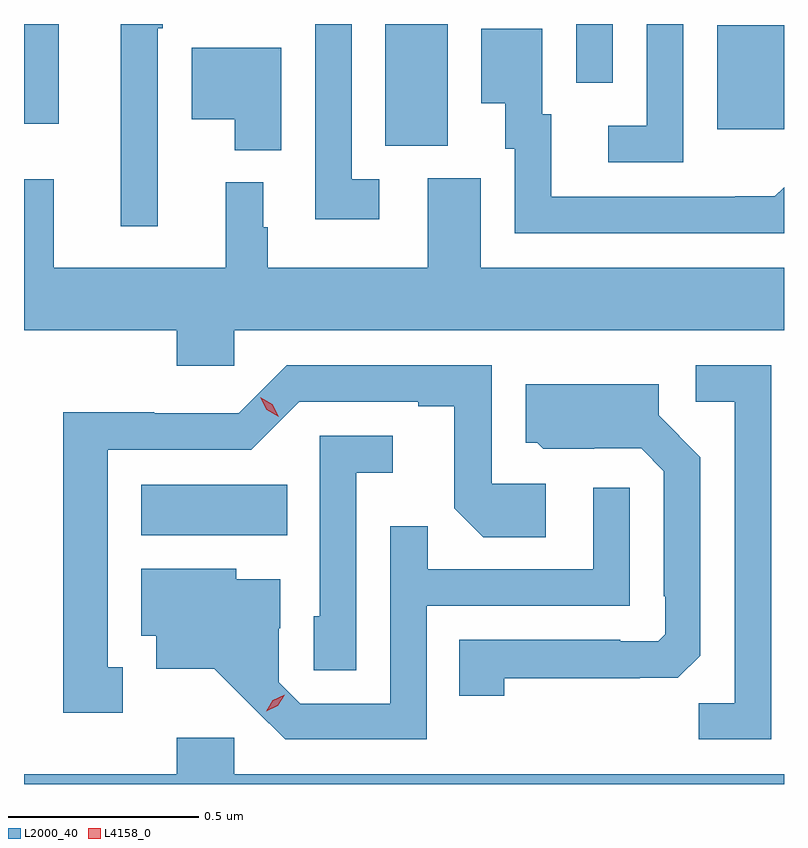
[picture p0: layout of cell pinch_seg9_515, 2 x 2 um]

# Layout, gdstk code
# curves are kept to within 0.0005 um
import gdstk
lib = gdstk.Library(unit=1e-6, precision=1e-09)
def R(c, l, rs):  # rectangles x0, y0, x1, y1
    for r in rs: c.add(gdstk.rectangle(r[:2], r[2:], *l))
def P(c, l, *ps):  # polygons
    for p in ps: c.add(gdstk.Polygon(p, *l))
L2000_40 = (2000, 40)
L4158_0 = (4158, 0)

pinch_seg9_515 = lib.new_cell('pinch_seg9_515')
R(pinch_seg9_515, L2000_40, [(292.328,1202.54,292.712,1202.674), (292.97,1203.565,293.134,1203.886), (293.843,1203.609,294.019,1203.883), (292.019,1203.623,292.111,1203.886), (293.472,1203.732,293.568,1203.886)])
P(pinch_seg9_515, L2000_40, [(292.954,1203.477),(292.881,1203.477),(292.881,1203.886),(292.785,1203.886),(292.785,1203.372),(292.954,1203.372)],
  [(292.371,1203.875),(292.384,1203.875),(292.384,1203.886),(292.274,1203.886),(292.274,1203.354),(292.371,1203.354)],
  [(293.754,1203.886),(293.658,1203.886),(293.658,1203.618),(293.556,1203.618),(293.556,1203.522),(293.754,1203.522)],
  [(294.019,1203.457),(293.995,1203.433),(293.891,1203.433),(293.891,1203.432),(293.407,1203.432),(293.407,1203.648),(293.383,1203.648),(293.383,1203.874),(293.222,1203.874),(293.222,1203.677),(293.285,1203.677),(293.285,1203.558),(293.31,1203.558),(293.31,1203.336),(294.019,1203.336)],
  [(292.696,1203.823),(292.46,1203.823),(292.46,1203.635),(292.574,1203.635),(292.574,1203.554),(292.696,1203.554)],
  [(292.572,1203.08),(294.019,1203.08),(294.019,1203.244),(293.221,1203.244),(293.221,1203.48),(293.081,1203.48),(293.081,1203.244),(292.66,1203.244),(292.66,1203.351),(292.648,1203.351),(292.648,1203.469),(292.55,1203.469),(292.55,1203.244),(292.097,1203.244),(292.097,1203.478),(292.019,1203.478),(292.019,1203.08),(292.421,1203.08),(292.421,1202.987),(292.572,1202.987)],
  [(293.985,1202.988),(293.787,1202.988),(293.787,1202.892),(293.889,1202.892),(293.889,1202.099),(293.794,1202.099),(293.794,1202.004),(293.985,1202.004)],
  [(292.279,1202.193),(292.24,1202.193),(292.24,1202.766),(292.617,1202.766),(292.743,1202.892),(293.057,1202.892),(293.057,1202.88),(293.151,1202.88),(293.151,1202.612),(293.227,1202.536),(293.392,1202.536),(293.392,1202.676),(293.25,1202.676),(293.25,1202.988),(292.71,1202.988),(292.584,1202.862),(292.362,1202.862),(292.362,1202.864),(292.122,1202.864),(292.122,1202.073),(292.279,1202.073)],
  [(293.283,1202.164),(293.639,1202.164),(293.639,1202.165),(293.74,1202.165),(293.799,1202.224),(293.799,1202.746),(293.689,1202.856),(293.689,1202.938),(293.339,1202.938),(293.339,1202.784),(293.37,1202.784),(293.386,1202.768),(293.52,1202.768),(293.52,1202.769),(293.643,1202.769),(293.703,1202.709),(293.703,1202.38),(293.706,1202.38),(293.706,1202.28),(293.688,1202.262),(293.588,1202.262),(293.588,1202.265),(293.164,1202.265),(293.164,1202.118),(293.283,1202.118)],
  [(292.893,1202.705),(292.99,1202.705),(292.99,1202.802),(292.797,1202.802),(292.797,1202.328),(292.782,1202.328),(292.782,1202.185),(292.893,1202.185)],
  [(293.079,1202.355),(293.613,1202.355),(293.613,1202.665),(293.517,1202.665),(293.517,1202.451),(293.081,1202.451),(293.081,1202.564),(292.983,1202.564),(292.983,1202.097),(292.746,1202.097),(292.689,1202.154),(292.689,1202.296),(292.693,1202.296),(292.693,1202.425),(292.578,1202.425),(292.578,1202.452),(292.328,1202.452),(292.328,1202.276),(292.367,1202.276),(292.367,1202.189),(292.519,1202.189),(292.706,1202.004),(293.079,1202.004)],
  [(294.019,1201.912),(292.572,1201.912),(292.572,1202.008),(292.421,1202.008),(292.421,1201.912),(292.019,1201.912),(292.019,1201.886),(294.019,1201.886)])
P(pinch_seg9_515, L4158_0, [(292.656,1202.077),(292.656,1202.077),(292.674,1202.107),(292.705,1202.121),(292.705,1202.121),(292.705,1202.121),(292.687,1202.092),(292.657,1202.077)],
  [(292.689,1202.852),(292.658,1202.871),(292.641,1202.904),(292.641,1202.904),(292.641,1202.904),(292.672,1202.885),(292.69,1202.852),(292.69,1202.852)])

lib.write_gds('pinch_seg9_515.gds')
